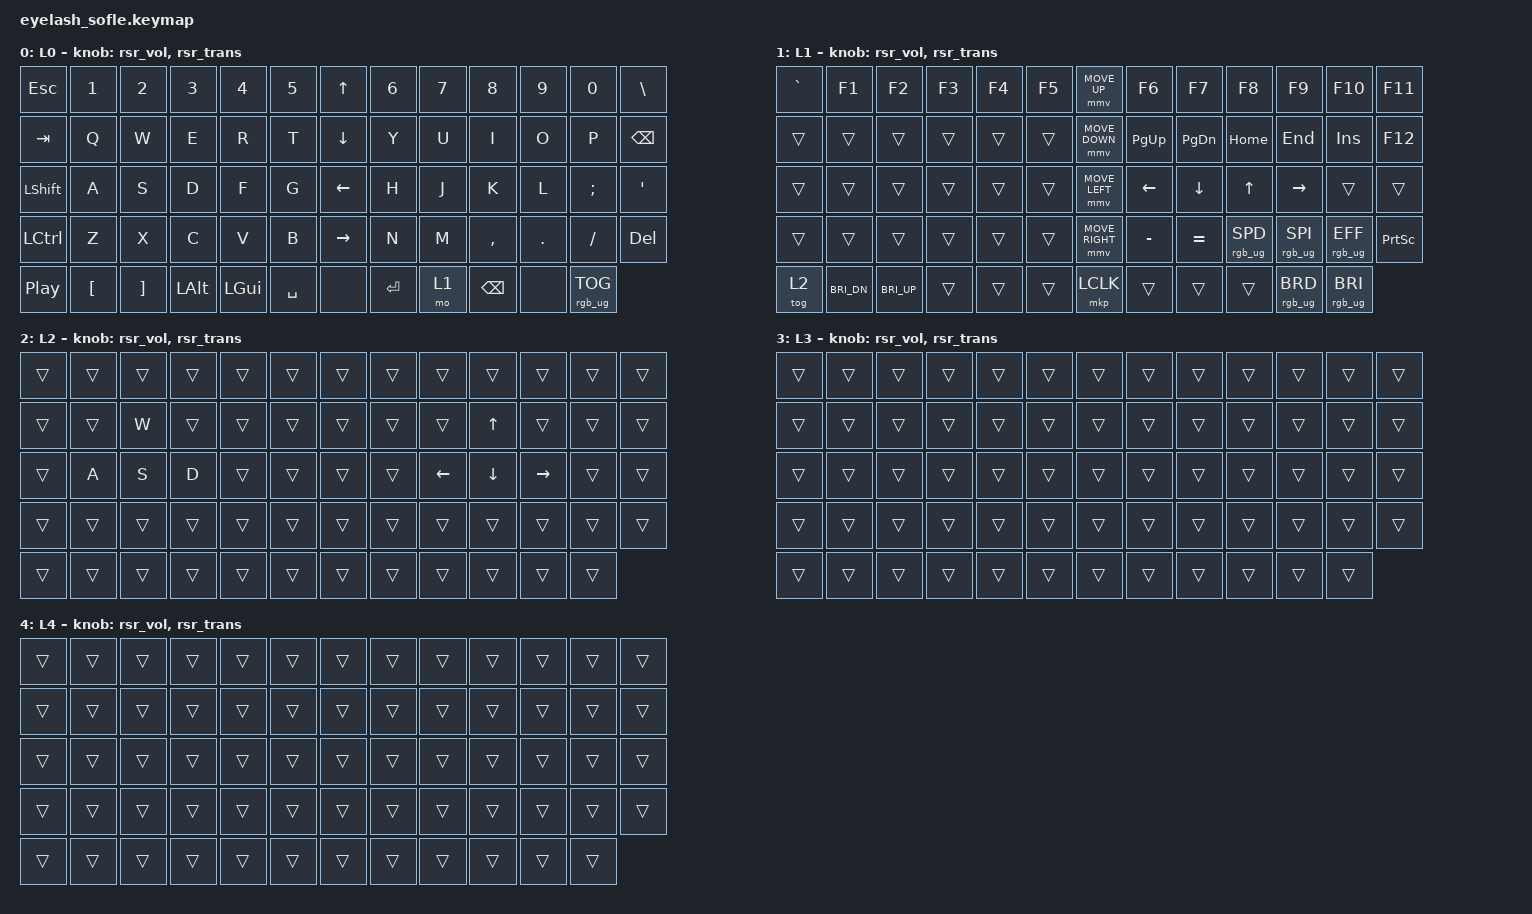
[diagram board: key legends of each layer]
#define ZMK_POINTING_DEFAULT_MOVE_VAL 1200  // 600
#define ZMK_POINTING_DEFAULT_SCRL_VAL 25   // 10

#include <input/processors.dtsi>
#include <zephyr/dt-bindings/input/input-event-codes.h>
#include <behaviors.dtsi>
#include <behaviors/runtime-sensor-rotate.dtsi>
#include <dt-bindings/zmk/bt.h>
#include <dt-bindings/zmk/keys.h>
#include <dt-bindings/zmk/outputs.h>
#include <dt-bindings/zmk/pointing.h>
#include <dt-bindings/zmk/rgb.h>

&mmv_input_listener { input-processors = <&zip_xy_scaler 2 1>; };

&msc_input_listener { input-processors = <&zip_scroll_scaler 2 1>; };

&msc {
    acceleration-exponent = <1>;
    time-to-max-speed-ms = <100>;
    delay-ms = <0>;
};

&mmv {
    time-to-max-speed-ms = <500>;
    acceleration-exponent = <1>;
    trigger-period-ms = <16>;
};

&soft_off { hold-time-ms = <2000>; };

/ {
    scroll_encoder: scroll_encoder {
        compatible = "zmk,behavior-sensor-rotate";
        #sensor-binding-cells = <0>;
        bindings = <&msc SCRL_DOWN>, <&msc SCRL_UP>;
        tap-ms = <100>;
    };

    behaviors {
        rsr_vol: rsr_vol {
            compatible = "zmk,behavior-runtime-sensor-rotate";
            #sensor-binding-cells = <0>;
            tap-ms = <5>;
            cw-binding = <&kp C_VOL_UP>;
            ccw-binding = <&kp C_VOL_DN>;
        };

        rsr_trans: rsr_trans {
            compatible = "zmk,behavior-runtime-sensor-rotate";
            #sensor-binding-cells = <0>;
            tap-ms = <0>;
        };
    };

    combos {
        compatible = "zmk,combos";

        softoff {
            bindings = <&soft_off>;
            key-positions = <14 28 40>;
        };
    };

    keymap {
        compatible = "zmk,keymap";

        layer0 {
            display-name = "L0";
            bindings = <
&kp ESCAPE        &kp N1            &kp N2        &kp N3        &kp N4    &kp N5       &kp UP       &kp N6     &kp N7     &kp N8     &kp N9           &kp N0      &kp BACKSLASH
&kp TAB           &kp Q             &kp W         &kp E         &kp R     &kp T        &kp DOWN     &kp Y      &kp U      &kp I      &kp O            &kp P       &kp BACKSPACE
&kp LEFT_SHIFT    &kp A             &kp S         &kp D         &kp F     &kp G        &kp LEFT     &kp H      &kp J      &kp K      &kp L            &kp SEMI    &kp SQT
&kp LEFT_CONTROL  &kp Z             &kp X         &kp C         &kp V     &kp B        &kp RIGHT    &kp N      &kp M      &kp COMMA  &kp PERIOD       &kp SLASH   &kp DELETE
&kp C_PLAY_PAUSE  &kp LEFT_BRACKET  &kp RIGHT_BRACKET &kp LEFT_ALT &kp LEFT_GUI &kp SPACE &none   &kp RETURN &mo 1      &kp BACKSPACE &none          &rgb_ug RGB_TOG
            >;
            sensor-bindings = <&rsr_vol &rsr_trans>;
        };

        layer_1 {
            display-name = "L1";
            bindings = <
&kp GRAVE         &kp F1            &kp F2          &kp F3           &kp F4           &kp F5             &mmv MOVE_UP     &kp F6           &kp F7           &kp F8      &kp F9     &kp F10           &kp F11
&trans            &trans            &trans          &trans           &trans           &trans             &mmv MOVE_DOWN   &kp PAGE_UP      &kp PAGE_DOWN    &kp HOME    &kp END    &kp INS           &kp F12
&trans            &trans            &trans          &trans           &trans           &trans             &mmv MOVE_LEFT   &kp LEFT         &kp DOWN         &kp UP      &kp RIGHT  &trans            &trans
&trans            &trans            &trans          &trans           &trans           &trans             &mmv MOVE_RIGHT  &kp MINUS        &kp EQUAL        &rgb_ug RGB_SPD &rgb_ug RGB_SPI &rgb_ug RGB_EFF &kp PRINTSCREEN
&tog 2            &kp C_BRI_DN      &kp C_BRI_UP    &trans           &trans           &trans             &mkp LCLK        &trans           &trans           &trans      &rgb_ug RGB_BRD &rgb_ug RGB_BRI
            >;
            sensor-bindings = <&rsr_vol &rsr_trans>;
        };

        layer_2 {
            display-name = "L2";
            bindings = <
&trans  &trans  &trans  &trans  &trans  &trans    &trans  &trans  &trans  &trans  &trans  &trans  &trans
&trans  &trans  &kp W   &trans  &trans  &trans    &trans  &trans  &trans  &kp UP  &trans  &trans  &trans
&trans  &kp A   &kp S   &kp D   &trans  &trans    &trans  &trans  &kp LEFT &kp DOWN &kp RIGHT &trans &trans
&trans  &trans  &trans  &trans  &trans  &trans    &trans  &trans  &trans  &trans  &trans  &trans  &trans
&trans  &trans  &trans  &trans  &trans  &trans    &trans  &trans  &trans  &trans  &trans  &trans
            >;
            sensor-bindings = <&rsr_vol &rsr_trans>;
        };

        layer_3 {
            display-name = "L3";
            bindings = <
&trans  &trans  &trans  &trans  &trans  &trans    &trans  &trans  &trans  &trans  &trans  &trans  &trans
&trans  &trans  &trans  &trans  &trans  &trans    &trans  &trans  &trans  &trans  &trans  &trans  &trans
&trans  &trans  &trans  &trans  &trans  &trans    &trans  &trans  &trans  &trans  &trans  &trans  &trans
&trans  &trans  &trans  &trans  &trans  &trans    &trans  &trans  &trans  &trans  &trans  &trans  &trans
&trans  &trans  &trans  &trans  &trans  &trans    &trans  &trans  &trans  &trans  &trans  &trans
            >;
            sensor-bindings = <&rsr_vol &rsr_trans>;
        };

        layer_4 {
            display-name = "L4";
            bindings = <
&trans  &trans  &trans  &trans  &trans  &trans    &trans  &trans  &trans  &trans  &trans  &trans  &trans
&trans  &trans  &trans  &trans  &trans  &trans    &trans  &trans  &trans  &trans  &trans  &trans  &trans
&trans  &trans  &trans  &trans  &trans  &trans    &trans  &trans  &trans  &trans  &trans  &trans  &trans
&trans  &trans  &trans  &trans  &trans  &trans    &trans  &trans  &trans  &trans  &trans  &trans  &trans
&trans  &trans  &trans  &trans  &trans  &trans    &trans  &trans  &trans  &trans  &trans  &trans
            >;
            sensor-bindings = <&rsr_vol &rsr_trans>;
        };
    };
};
